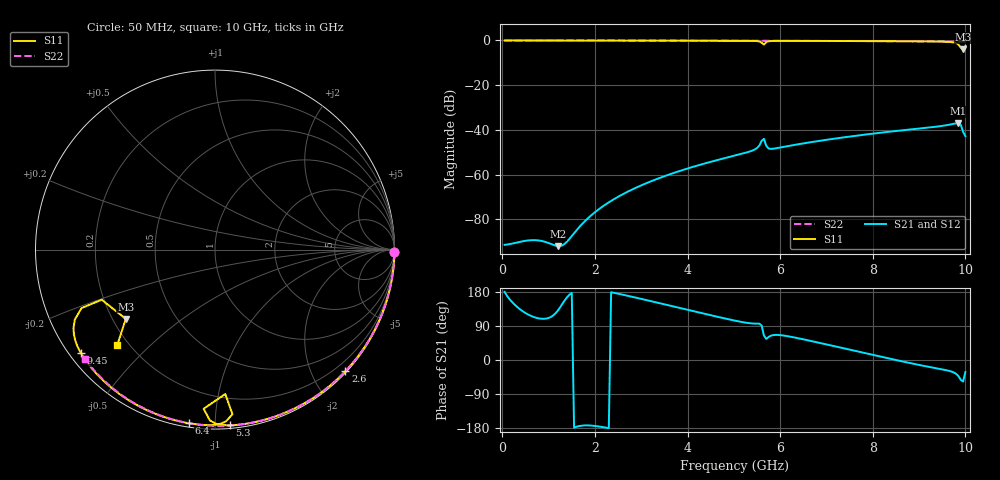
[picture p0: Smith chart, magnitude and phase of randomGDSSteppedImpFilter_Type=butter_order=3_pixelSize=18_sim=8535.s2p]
! freq	dB(S11)	phase(S11)	dB(S12)	phase(S12)
!  dB(S21)	phase(S21)	dB(S22)	phase(S22)
!S-par simulation data
#  GHz  S  DB  R 50
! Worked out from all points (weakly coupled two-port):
!   200 points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, 50 MHz to 10 GHz, reference 50 ohm
!   highest |S21| = -36.96 dB at 9.85 GHz (marker M1); lowest = -91.9 dB at 1.2 GHz (marker M2)
!   lowest |S11| = -4.0 dB at 9.95 GHz (marker M3), VSWR 4.40, Z = 12.6 - j16.2 ohm
!   |S11| at or under -10 dB: nowhere
!   |S22| runs from -0.5 to 0.0 dB; largest |S21 - S12| = 0
!   S11 on the Smith chart (normalised r, x): 50 MHz: open; 2.6 GHz: 0.02, -2.54; 5.3 GHz: 0.02, -1.09; 6.4 GHz: 0.02, -0.86; 9.45 GHz: 0.03, -0.34; 10 GHz: 0.16, -0.40
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0.05  -0.00 -0.8  -91.36 179.9  -91.36 179.9  -0.00 -0.8
1.2  -0.02 -20.2  -91.94 130.6  -91.94 130.6  -0.02 -19.3
1.75  -0.04 -29.3  -81.46 -172.8  -81.46 -172.8  -0.04 -28.0
1.85  -0.04 -30.9  -79.45 -172.6  -79.45 -172.6  -0.04 -29.6
2.6  -0.06 -43.0  -68.74 172.4  -68.74 172.4  -0.05 -41.2
3.4  -0.07 -55.7  -61.43 149.9  -61.43 149.9  -0.07 -53.2
5.05  -0.13 -80.9  -51.31 103.2  -51.31 103.2  -0.12 -76.9
5.3  -0.15 -85.1  -49.92 97.7  -49.92 97.7  -0.13 -80.3
5.5  -0.27 -89.7  -48.08 96.1  -48.08 96.1  -0.14 -83.1
5.6  -1.02 -94.1  -44.89 91.1  -44.89 91.1  -0.14 -84.4
5.65  -1.87 -85.9  -43.96 64.5  -43.96 64.5  -0.14 -85.1
5.7  -0.70 -84.0  -47.08 55.6  -47.08 55.6  -0.14 -85.8
5.8  -0.26 -88.1  -48.47 64.2  -48.47 64.2  -0.15 -87.1
6.4  -0.19 -98.5  -46.36 57.2  -46.36 57.2  -0.18 -95.1
6.7  -0.20 -102.8  -45.34 49.3  -45.34 49.3  -0.19 -99.0
8.35  -0.33 -125.5  -40.81 4.0  -40.81 4.0  -0.31 -119.8
9.45  -0.51 -142.4  -38.33 -23.6  -38.33 -23.6  -0.41 -133.3
9.7  -0.75 -148.9  -37.46 -30.5  -37.46 -30.5  -0.44 -136.3
9.85  -1.81 -156.3  -36.96 -42.6  -36.96 -42.6  -0.46 -138.1
9.9  -3.22 -156.1  -37.69 -52.4  -37.69 -52.4  -0.47 -138.7
9.95  -4.02 -142.2  -40.80 -56.8  -40.80 -56.8  -0.47 -139.3
10  -2.40 -135.8  -42.81 -31.7  -42.81 -31.7  -0.48 -139.9
